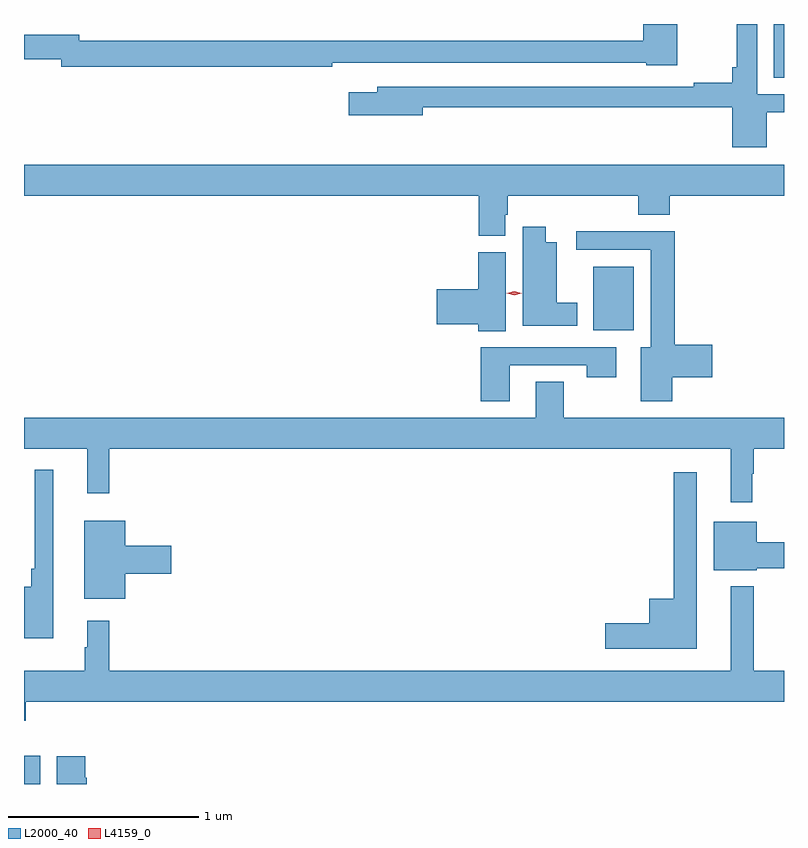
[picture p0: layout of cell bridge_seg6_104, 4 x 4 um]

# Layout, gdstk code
import gdstk
lib = gdstk.Library(unit=1e-6, precision=1e-09)
def R(c, l, rs):  # rectangles x0, y0, x1, y1
    for r in rs: c.add(gdstk.rectangle(r[:2], r[2:], *l))
def P(c, l, *ps):  # polygons
    for p in ps: c.add(gdstk.Polygon(p, *l))
L2000_40 = (2000, 40)
L4159_0 = (4159, 0)

bridge_seg6_104 = lib.new_cell('bridge_seg6_104')
R(bridge_seg6_104, L2000_40, [(384.96,937.58,385.045,937.729), (387.956,939.968,388.168,940.303), (388.907,941.296,388.96,941.58)])
P(bridge_seg6_104, L2000_40, [(388.87,941.115),(388.96,941.115),(388.96,941.211),(388.818,941.211),(388.818,941.58),(388.71,941.58),(388.71,941.353),(388.688,941.353),(388.688,941.27),(388.486,941.27),(388.486,941.25),(386.819,941.25),(386.819,941.221),(386.67,941.221),(386.67,941.099),(387.058,941.099),(387.058,941.142),(388.688,941.142),(388.688,940.931),(388.87,940.931)],
  [(386.582,941.376),(388.236,941.376),(388.236,941.363),(388.398,941.363),(388.398,941.58),(388.22,941.58),(388.22,941.492),(385.251,941.492),(385.251,941.524),(384.96,941.524),(384.96,941.395),(385.155,941.395),(385.155,941.356),(386.582,941.356)],
  [(384.96,940.676),(387.353,940.676),(387.353,940.465),(387.493,940.465),(387.493,940.575),(387.506,940.575),(387.506,940.676),(388.193,940.676),(388.193,940.577),(388.358,940.577),(388.358,940.676),(388.96,940.676),(388.96,940.84),(384.96,940.84)],
  [(387.871,940.114),(387.763,940.114),(387.763,940.432),(387.706,940.432),(387.706,940.513),(387.584,940.513),(387.584,939.992),(387.871,939.992)],
  [(388.372,939.722),(388.582,939.722),(388.582,939.893),(388.385,939.893),(388.385,940.49),(387.867,940.49),(387.867,940.392),(388.259,940.392),(388.259,939.88),(388.205,939.88),(388.205,939.594),(388.372,939.594)],
  [(387.496,940.38),(387.35,940.38),(387.35,940.184),(387.132,940.184),(387.132,940.001),(387.35,940.001),(387.35,939.964),(387.496,939.964)],
  [(387.517,939.783),(387.922,939.783),(387.922,939.72),(388.078,939.72),(388.078,939.879),(387.365,939.879),(387.365,939.594),(387.517,939.594)],
  [(388.793,939.212),(388.801,939.212),(388.801,939.344),(388.96,939.344),(388.96,939.508),(387.801,939.508),(387.801,939.698),(387.653,939.698),(387.653,939.508),(384.96,939.508),(384.96,939.344),(385.292,939.344),(385.292,939.111),(385.409,939.111),(385.409,939.344),(388.679,939.344),(388.679,939.063),(388.793,939.063)],
  [(385.114,939.235),(385.017,939.235),(385.017,938.713),(384.997,938.713),(384.997,938.617),(384.96,938.617),(384.96,938.348),(385.114,938.348)],
  [(388.501,939.22),(388.38,939.22),(388.38,938.554),(388.25,938.554),(388.25,938.426),(388.02,938.426),(388.02,938.291),(388.501,938.291)],
  [(385.492,938.687),(385.735,938.687),(385.735,938.834),(385.492,938.834),(385.492,938.965),(385.277,938.965),(385.277,938.555),(385.492,938.555)],
  [(388.816,938.716),(388.96,938.716),(388.96,938.852),(388.816,938.852),(388.816,938.959),(388.589,938.959),(388.589,938.705),(388.816,938.705)],
  [(384.968,938.012),(388.96,938.012),(388.96,938.176),(388.801,938.176),(388.801,938.62),(388.679,938.62),(388.679,938.176),(385.409,938.176),(385.409,938.44),(385.292,938.44),(385.292,938.3),(385.281,938.3),(385.281,938.176),(384.96,938.176),(384.96,937.913),(384.968,937.913)],
  [(385.289,937.613),(385.282,937.613),(385.282,937.726),(385.133,937.726),(385.133,937.58),(385.289,937.58)])
P(bridge_seg6_104, L4159_0, [(387.541,940.153),(387.502,940.162),(387.502,940.163),(387.502,940.163),(387.541,940.173),(387.579,940.163),(387.58,940.162),(387.579,940.162)])

lib.write_gds('bridge_seg6_104.gds')
